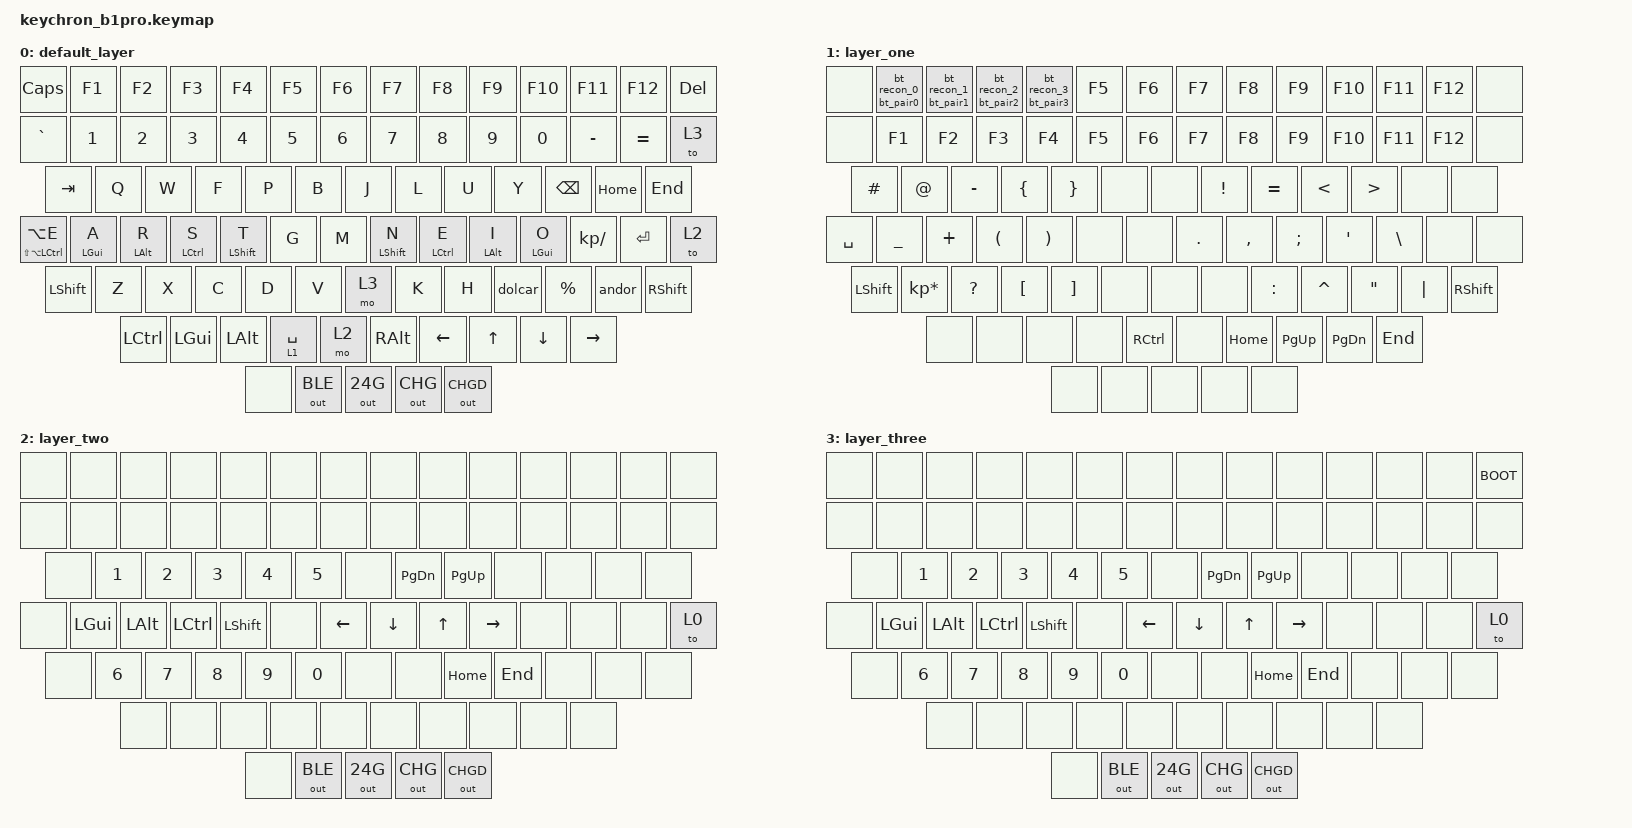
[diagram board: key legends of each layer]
/*
 * Copyright (c) 2023 The ZMK Contributors
 *
 * SPDX-License-Identifier: MIT
 */

#include <behaviors.dtsi>
#include <dt-bindings/zmk/keys.h>
#include <dt-bindings/zmk/rgb.h>
#include <dt-bindings/zmk/bt.h>
#include <dt-bindings/zmk/outputs.h>
#include <dt-bindings/zmk/pointing.h>

#define agui &mt LGUI A
#define ralt &mt LALT R
#define sctrl &mt LCTRL S
#define tshift &mt LSHIFT T

#define ogui &mt LGUI O
#define ialt &mt LALT I
#define ectrl &mt LCTRL E
#define nshift &mt LSHIFT N

#define MEH LS(LA(LCTRL))

/ {
 ZMK_MACRO(recover, bindings = <&out OUT_RECOVER>;)
 ZMK_MACRO(change, bindings = <&out OUT_FN>;)
 ZMK_MACRO(fn_win, bindings = <&out OUT_FN_WIN>;)

 ZMK_MACRO(en_bootloader, bindings = <&bootloader>;)
 ZMK_MACRO1(MA,bindings=<&kp 0x770000>;)

 long_press_recover:l1 {
 compatible = "zmk,behavior-hold-tap";
 label = "l1";
 #binding-cells = <2>;
 flavor = "tap-preferred";
 tapping-term-ms = <3000>; // delay amount in ms
 bindings = <&recover>, <&none>;
 };

 long_press_change:l2{
 compatible = "zmk,behavior-hold-tap";
 label = "lp_change";
 #binding-cells = <2>;
 flavor = "tap-preferred";
 tapping-term-ms = <3000>; // delay amount in ms
 bindings = <&change>, <&none>;
 };
 long_press_bootloader:l3{
 compatible = "zmk,behavior-hold-tap";
 label = "lp_bootloader";
 #binding-cells = <2>;
 flavor = "tap-preferred";
 tapping-term-ms = <3000>; // delay amount in ms
 bindings = <&en_bootloader>, <&none>;
 };
 long_press_fn_win:l4{
 compatible = "zmk,behavior-hold-tap";
 label = "lp_fn_win";
 #binding-cells = <2>;
 flavor = "tap-preferred";
 tapping-term-ms = <3000>; 
 bindings = <&fn_win>, <&none>;
 };
 

 combos1 {
 compatible = "zmk,combos";
 combo_jz {
 timeout-ms = <1000>;
 layers = <1 3>;
 key-positions = <48 57>; //fn+j+z
 bindings = <&long_press_recover 0 0>;
 };
 combo_xl {
 timeout-ms = <1000>;
 layers =< 1 3>;
 key-positions = <58 50>; //fn+x+l
 bindings = <&long_press_change 0 0>;
 };
 combo_b {
 timeout-ms = <1000>;
 layers =< 1 3>;
 //slow-release = <true>;
 key-positions = <61>; //fn+b
 bindings = <&out OUT_BAT>;
 };

 combo_win_l {
 timeout-ms = <1000>;
 layers =< 1 3>;
 //slow-release = <true>;
 key-positions = <69>; //fn+win
 bindings = <&long_press_fn_win 0 0>;
 };

 combo_t0 {
 timeout-ms = <10 >;
 layers =<4>;
 
 key-positions = <80 90>; 
 bindings = <&to 3 >;
 };
 combo_t1 {
 timeout-ms = <10 >;
 layers =<4>;
 
 key-positions = <80 91>; 
 bindings = <&tog 3 >;
 };
 combo_t2 {
 timeout-ms = <10 >;
 layers =<4>;
 
 key-positions = <80 92>; 
 bindings = <&sl 3 >;
 };
 combo_t3 {
 timeout-ms = <10 >;
 layers =<4>;
 
 key-positions = <70 93>; 
 bindings = <&lt 3 SPACE>;
 };
 combo_t4 {
 timeout-ms = <10 >;
 layers =<4>;
 
 key-positions = <81 94>; 
 bindings = <&sk LSHIFT>;
 };
 combo_t5 {
 timeout-ms = <10 >;
 layers =<4>;
 
 key-positions = <81 93>; 
 bindings = <&mt LSHIFT SPACE>;
 };
 combo_t6 {
 timeout-ms = <10 >;
 layers =<4>;
 
 key-positions = <81 93>; 
 bindings = <&gresc>;
 };

  combo_esc {
            timeout-ms = <300>;
            key-positions = <43 44>;
            bindings = <&kp ESC>;
        };

  combo_enter {
            timeout-ms = <300>;
            key-positions = <49 50>;
            bindings = <&kp RET>;
        };

  combo_bspaces {
            timeout-ms = <300>;
            key-positions = <36 37>;
            bindings = <&kp BSPC>;
        };

  combo_tab {
            timeout-ms = <300>;
            key-positions = <30 31>;
            bindings = <&kp TAB>;
        };

 };


 td0 {
 compatible = "zmk,behavior-tap-dance";
 label = "TAPD_LAYER";
 #binding-cells = <1>;
 tapping-term-ms = <350>;
 bindings =<&mo 0>,<&mo 0>,<&mo 0>,<&mo 0>,<&to 0>;
 };
 ZMK_MACRO(bt_pair0, bindings = <&bt BT_PAIR 0>;)
 ZMK_MACRO(bt_pair1, bindings = <&bt BT_PAIR 1>;)
 ZMK_MACRO(bt_pair2, bindings = <&bt BT_PAIR 2>;)
 ZMK_MACRO(bt_pair3, bindings = <&bt BT_PAIR 3>;)
 ZMK_MACRO(bt_recon_0, bindings = <&bt BT_SEL 0>;)
 ZMK_MACRO(bt_recon_1, bindings = <&bt BT_SEL 1>;)
 ZMK_MACRO(bt_recon_2, bindings = <&bt BT_SEL 2>;)
 ZMK_MACRO(bt_recon_3, bindings = <&bt BT_SEL 3>;)
 


 bt_pair_0: bt_pair_0 {
 compatible = "zmk,behavior-hold-tap";
 label = "bt_pair0";
 #binding-cells = <2>;
 flavor = "tap-preferred";
 tapping-term-ms = <3000>; // delay amount in ms
 bindings = <&bt_pair0>, <&bt_recon_0>;
 };
 bt_pair_1: bt_pair_1 {
 compatible = "zmk,behavior-hold-tap";
 label = "bt_pair1";
 #binding-cells = <2>;
 flavor = "tap-preferred";
 tapping-term-ms = <3000>; // delay amount in ms
 bindings = <&bt_pair1>, <&bt_recon_1>;
 };
 bt_pair_2: bt_pair_2 {
 compatible = "zmk,behavior-hold-tap";
 label = "bt_pair2";
 #binding-cells = <2>;
 flavor = "tap-preferred";
 tapping-term-ms = <3000>; // delay amount in ms
 bindings = <&bt_pair2>, <&bt_recon_2>;
 };
 bt_pair_3: bt_pair_3 {
 compatible = "zmk,behavior-hold-tap";
 label = "bt_pair3";
 #binding-cells = <2>;
 flavor = "tap-preferred";
 tapping-term-ms = <3000>; // delay amount in ms
 bindings = <&bt_pair3>, <&bt_recon_3>;
 };
 uc:user_custom {
 compatible = "zmk,behavior-key-press";
 label ="user_custom";
 #binding-cells =<1>;
 };

 keymap {
 compatible = "zmk,keymap";
 //mac
 default_layer {
 bindings = <
        &kp CLCK &kp F1 &kp F2 &kp F3 &kp F4 &kp F5 &kp F6 &kp F7 &kp F8 &kp F9 &kp F10 &kp F11 &kp F12 &kp DEL 
        &kp GRAVE &kp N1 &kp N2 &kp N3 &kp N4 &kp N5 &kp N6 &kp N7 &kp N8 &kp N9 &kp N0 &kp MINUS &kp EQUAL &to 3
        &kp TAB &kp Q &kp W &kp F &kp P &kp B &kp J &kp L &kp U &kp Y &kp BSPC &kp HOME &kp END 
        &mt MEH LA(E) agui ralt sctrl tshift &kp G &kp M nshift ectrl ialt ogui &kp KP_SLASH &kp RET  &to 2
        &kp LSHFT &kp Z &kp X &kp C &kp D &kp V &mo 3 &kp K &kp H &dolcar &kp PERCENT &andor &kp RSHFT
        &kp LCTRL &kp LGUI &kp LALT &lt 1 SPACE &mo 2 &kp RALT &kp LEFT &kp UP &kp DOWN &kp RIGHT 
        //
        &none &out OUT_BLE &out OUT_24G &out OUT_CHG &out OUT_CHGD 
 >;
 };
 //mac
 layer_one {
 bindings = < 
      &none &bt_pair_0 0 0 &bt_pair_1 0 0 &bt_pair_2 0 0 &bt_pair_3 0 0 &kp F5 &kp F6 &kp F7 &kp F8 &kp F9 &kp F10 &kp F11 &kp F12 &none 
      &none &kp F1 &kp F2 &kp F3 &kp F4 &kp F5 &kp F6 &kp F7 &kp F8 &kp F9 &kp F10 &kp F11 &kp F12 &none 
      &kp HASH &kp AT &kp MINUS &kp LEFT_BRACE &kp RIGHT_BRACE &none &none &kp EXCL &kp EQUAL &kp LESS_THAN &kp GREATER_THAN &none &none 
      &kp SPACE &kp UNDERSCORE &kp PLUS &kp LEFT_PARENTHESIS &kp RIGHT_PARENTHESIS &none &none &kp DOT &kp COMMA &kp SEMI &kp SINGLE_QUOTE &kp BSLH &none &none
      &kp LSHIFT &kp KP_ASTERISK &kp QMARK &kp LBKT &kp RBKT &none &none &none &kp COLON &kp CARET &kp DOUBLE_QUOTES &kp PIPE &kp RSHFT
      &none &none &none &none &kp RCTRL &none &kp HOME &kp PG_UP &kp PG_DN &kp END 
      //
      &none &none &none &none &none
 >;
 };
 //win
 layer_two {
 bindings = <
        &none &none &none &none &none &none &none &none &none &none &none &none &none &none 
        &none &none &none &none &none &none &none &none &none &none &none &none &none &none
        &none &kp N1 &kp N2 &kp N3 &kp N4 &kp N5 &none &kp PAGE_DOWN &kp PAGE_UP &none &none &none &none 
        &none &kp LGUI &kp LALT &kp LCTRL &kp LSHIFT &none &kp LEFT &kp DOWN &kp UP &kp RIGHT  &none &none &none &to 0
        &none &kp N6 &kp N7 &kp N8 &kp N9 &kp N0 &none &none &kp HOME &kp END &none &none &none
        &none &none &none &none &none &none &none &none &none &none
        //
        &none &out OUT_BLE &out OUT_24G &out OUT_CHG &out OUT_CHGD 
 >;
 };
 //win
 layer_three {
 bindings = <
        &none &none &none &none &none &none &none &none &none &none &none &none &none &kp K_BOOT
        &none &none &none &none &none &none &none &none &none &none &none &none &none &none
        &none &kp N1 &kp N2 &kp N3 &kp N4 &kp N5 &none &kp PAGE_DOWN &kp PAGE_UP &none &none &none &none 
        &none &kp LGUI &kp LALT &kp LCTRL &kp LSHIFT &none &kp LEFT &kp DOWN &kp UP &kp RIGHT  &none &none &none &to 0
        &none &kp N6 &kp N7 &kp N8 &kp N9 &kp N0 &none &none &kp HOME &kp END &none &none &none
        &none &none &none &none &none &none &none &none &none &none
        //
        &none &out OUT_BLE &out OUT_24G &out OUT_CHG &out OUT_CHGD 
 >;
 };
 
 
 };
};

 

